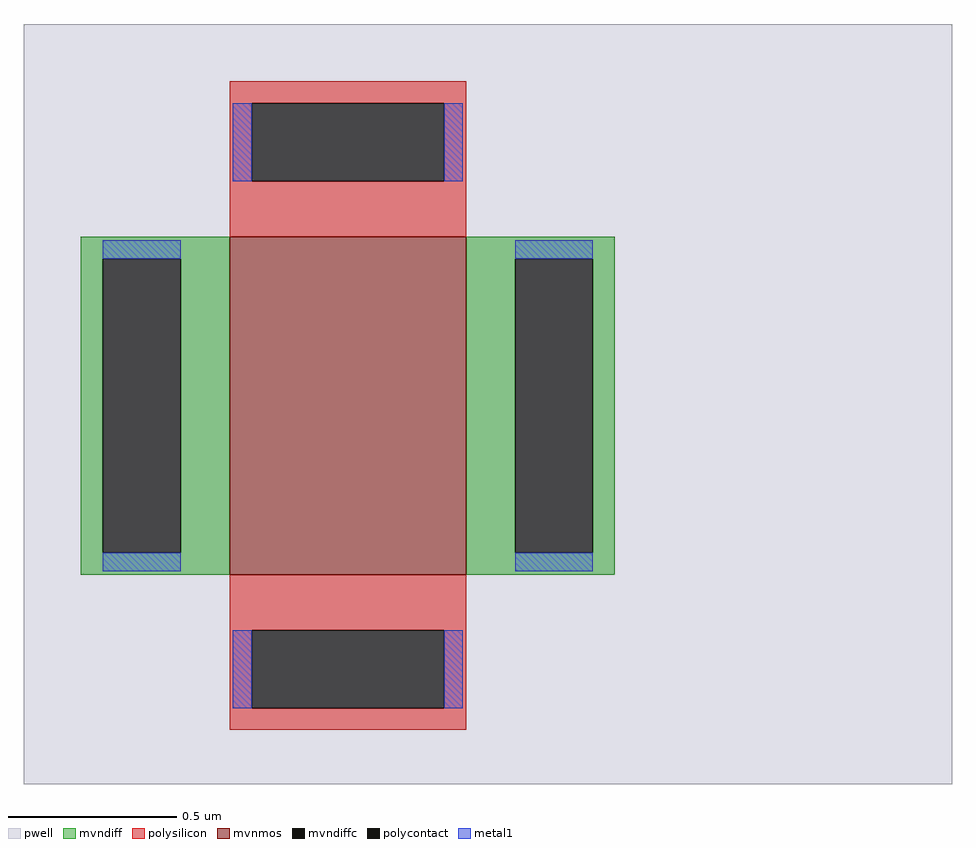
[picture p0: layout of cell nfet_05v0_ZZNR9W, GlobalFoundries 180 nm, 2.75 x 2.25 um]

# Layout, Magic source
magic
tech gf180mcuD
magscale 1 10
<< pwell >>
rect -192 -224 358 226
<< mvnmos >>
rect -70 -100 70 100
<< mvndiff >>
rect -158 87 -70 100
rect -158 -87 -145 87
rect -99 -87 -70 87
rect -158 -100 -70 -87
rect 70 87 158 100
rect 70 -87 99 87
rect 145 -87 158 87
rect 70 -100 158 -87
<< mvndiffc >>
rect -145 -87 -99 87
rect 99 -87 145 87
<< polysilicon >>
rect -70 179 70 192
rect -70 133 -57 179
rect 57 133 70 179
rect -70 100 70 133
rect -70 -133 70 -100
rect -70 -179 -57 -133
rect 57 -179 70 -133
rect -70 -192 70 -179
<< polycontact >>
rect -57 133 57 179
rect -57 -179 57 -133
<< metal1 >>
rect -68 133 -57 179
rect 57 133 68 179
rect -145 87 -99 98
rect -145 -98 -99 -87
rect 99 87 145 98
rect 99 -98 145 -87
rect -68 -179 -57 -133
rect 57 -179 68 -133
<< properties >>
string gencell nfet_05v0
string library gf180mcu
string parameters w 1 l 0.7 m 1 nf 1 diffcov 100 polycov 100 guard 0 glc 0 grc 0 gtc 0 gbc 0 tbcov 100 rlcov 100 topc 0 botc 0 poverlap 1 doverlap 1 lmin 0.7 wmin 0.3 class mosfet full_metal 0 compatible {nfet_03v3 nfet_05v0 nfet_06v0 nfet_06v0_nvt}
<< end >>
